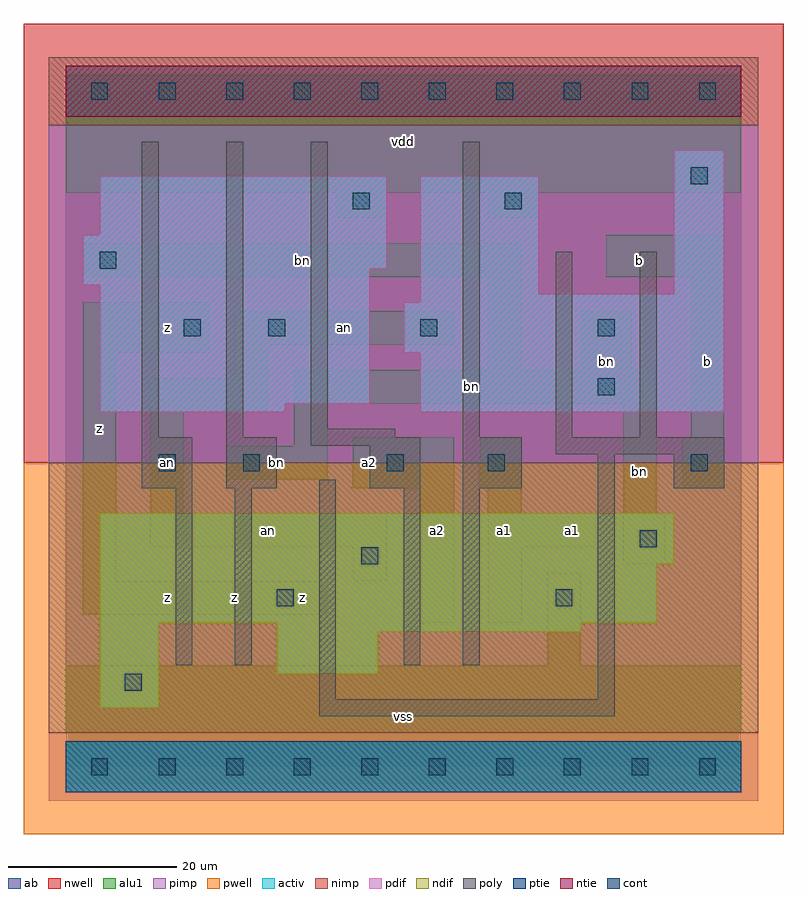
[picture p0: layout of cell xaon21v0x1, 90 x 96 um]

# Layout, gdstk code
import gdstk
lib = gdstk.Library(unit=1e-6, precision=1e-09)
def R(c, l, rs):  # rectangles x0, y0, x1, y1
    for r in rs: c.add(gdstk.rectangle(r[:2], r[2:], *l))
def A(c, l, x, y, w, h, nx, ny, dx, dy):  # array of equal rectangles
    R(c, l, [(x+i*dx, y+j*dy, x+i*dx+w, y+j*dy+h) for i in range(nx) for j in range(ny)])
ndif = (3, 0)
pdif = (4, 0)
ntie = (5, 0)
ptie = (6, 0)
cont = (25, 0)
pwell = (41, 0)
nwell = (42, 0)
activ = (43, 0)
pimp = (44, 0)
nimp = (45, 0)
poly = (46, 0)
alu1 = (49, 0)
ab = (63, 0)

xaon21v0x1 = lib.new_cell('xaon21v0x1')
R(xaon21v0x1, ndif, [(4,7,11,17), (25,11,37,16), (25,16,61,17), (4,17,70,24), (4,24,72,30)])
R(xaon21v0x1, pdif, [(4,42,26,43), (42,42,78,49), (4,43,36,57), (40,49,78,55), (42,55,78,56), (42,56,56,70), (72,56,78,73), (2,57,36,59), (2,59,38,63), (4,63,38,70)])
R(xaon21v0x1, ntie, [(0,77,80,83)])
R(xaon21v0x1, ptie, [(0,-3,80,3)])
A(xaon21v0x1, cont, 3, -1, 2, 2, 10, 2, 8, 80)
R(xaon21v0x1, cont, [(7,9,9,11), (25,19,27,21), (58,19,60,21), (35,24,37,26), (68,26,70,28), (11,35,13,37), (21,35,23,37), (38,35,40,37), (50,35,52,37), (74,35,76,37), (63,44,65,46), (14,51,16,53), (24,51,26,53), (42,51,44,53), (63,51,65,53), (4,59,6,61), (34,66,36,68), (52,66,54,68), (74,69,76,71)])
R(xaon21v0x1, pwell, [(-5,-8,85,36)])
R(xaon21v0x1, nwell, [(-5,36,85,88)])
R(xaon21v0x1, activ, [(0,-3,80,3), (4,7,11,17), (25,11,37,16), (25,16,61,17), (4,17,70,24), (4,24,72,30), (4,42,26,43), (42,42,78,49), (4,43,36,57), (40,49,78,55), (42,55,78,56), (42,56,56,70), (72,56,78,73), (2,57,36,59), (2,59,38,63), (4,63,38,70), (0,77,80,83)])
R(xaon21v0x1, pimp, [(-2,-4,82,4), (-2,36,82,76)])
R(xaon21v0x1, nimp, [(-2,4,82,36), (-2,76,82,84)])
R(xaon21v0x1, poly, [(30,6,65,8), (30,8,32,34), (63,8,65,37), (13,12,15,33), (20,12,22,33), (40,12,42,33), (47,12,49,33), (9,33,15,39), (19,33,25,39), (36,33,42,38), (47,33,54,39), (72,33,78,37), (58,37,78,39), (29,38,42,39), (9,39,11,74), (19,39,21,74), (29,39,39,40), (47,39,49,74), (58,39,60,61), (68,39,70,61), (29,40,31,74)])
R(xaon21v0x1, alu1, [(0,-2,80,12), (57,12,61,23), (42,17,46,33), (50,17,54,26), (2,18,31,22), (2,22,6,49), (34,22,38,26), (66,24,71,30), (10,26,38,30), (50,26,63,30), (10,30,14,42), (50,30,54,33), (66,30,70,43), (34,33,46,39), (49,33,54,39), (73,33,78,39), (19,34,31,38), (27,38,31,43), (74,39,78,58), (10,42,24,46), (27,43,70,47), (20,46,24,50), (50,47,54,58), (61,47,67,54), (2,49,17,55), (20,50,46,54), (2,58,54,62), (64,58,78,63), (32,65,38,68), (50,65,56,68), (0,68,80,82)])
R(xaon21v0x1, ab, [(0,0,80,80)])
xaon21v0x1.add(gdstk.Label('an', (12,36), layer=49, texttype=0))
xaon21v0x1.add(gdstk.Label('an', (24,28), layer=49, texttype=0))
xaon21v0x1.add(gdstk.Label('bn', (25,36), layer=49, texttype=0))
xaon21v0x1.add(gdstk.Label('an', (33,52), layer=49, texttype=0))
xaon21v0x1.add(gdstk.Label('bn', (28,60), layer=49, texttype=0))
xaon21v0x1.add(gdstk.Label('bn', (68,35), layer=49, texttype=0))
xaon21v0x1.add(gdstk.Label('bn', (64,48), layer=49, texttype=0))
xaon21v0x1.add(gdstk.Label('bn', (48,45), layer=49, texttype=0))
xaon21v0x1.add(gdstk.Label('z', (12,20), layer=49, texttype=0))
xaon21v0x1.add(gdstk.Label('z', (4,40), layer=49, texttype=0))
xaon21v0x1.add(gdstk.Label('z', (12,52), layer=49, texttype=0))
xaon21v0x1.add(gdstk.Label('z', (28,20), layer=49, texttype=0))
xaon21v0x1.add(gdstk.Label('z', (20,20), layer=49, texttype=0))
xaon21v0x1.add(gdstk.Label('a2', (36,36), layer=49, texttype=0))
xaon21v0x1.add(gdstk.Label('vss', (40,6), layer=49, texttype=0))
xaon21v0x1.add(gdstk.Label('a2', (44,28), layer=49, texttype=0))
xaon21v0x1.add(gdstk.Label('a1', (52,28), layer=49, texttype=0))
xaon21v0x1.add(gdstk.Label('vdd', (40,74), layer=49, texttype=0))
xaon21v0x1.add(gdstk.Label('a1', (60,28), layer=49, texttype=0))
xaon21v0x1.add(gdstk.Label('b', (76,48), layer=49, texttype=0))
xaon21v0x1.add(gdstk.Label('b', (68,60), layer=49, texttype=0))

lib.write_gds('xaon21v0x1.gds')
